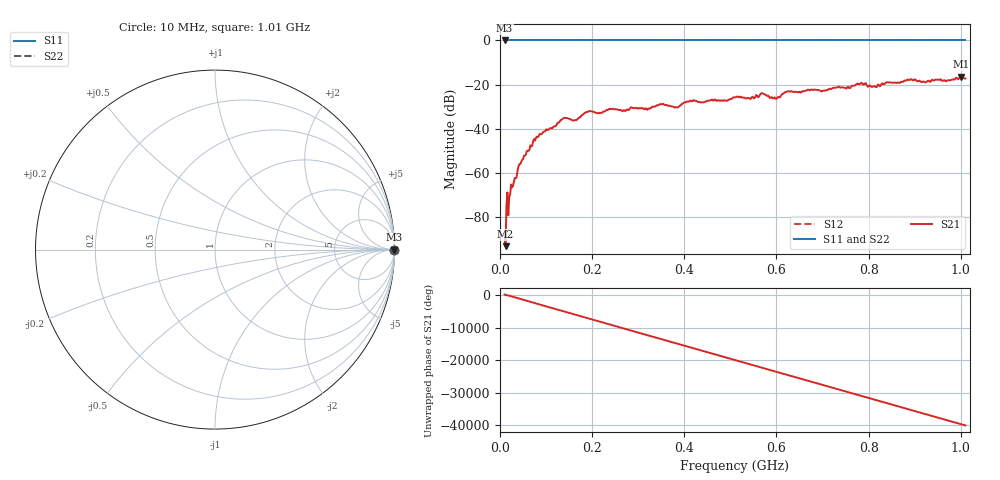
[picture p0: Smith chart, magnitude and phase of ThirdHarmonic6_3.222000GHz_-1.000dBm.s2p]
! 8/17/2025 9:50:30 AM
! C:\ANRITSUVNA\TEMP\TEMP.S2P
! CHANNEL.1
! TR.MEASUREMENT
! RAW.DATA
! RF.CORRECTION.OFF
! AVERAGING.OFF
! IF.BANDWIDTH: 5KHZ
! SWEEPTYPE:  FREQ.SWEEP(Linear)
! Reference Plane Port Info
! PORT:  PORT1  PORT2
! DISTANCE:  0  m  0  m
! TIME:  0  s  0  s
! PHASE.OFFSET:  0  deg.  0  deg.
! LOSS:  0  dB  0  dB
! REF.LOSS:  0  dB  0  dB
! REF.FREQ:  0  Hz  0  Hz
! Power Info
! POWER:  -20  dBm  -20  dBm
! EFF.POWER:  -20  dBm  -20  dBm
! SOURCE.ATTEN:  0  dB  0  dB
! TEST.ATTEN:  0  dB  0  dB
# GHZ S RI R 50.0
! FREQ.GHZ  S11RE  S11IM  S21RE  S21IM  S12RE  S12IM  S22RE  S22IM
!; PortSelection: Port_12
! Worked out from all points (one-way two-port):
!   501 points, 10 MHz to 1.01 GHz, reference 50 ohm
!   highest |S21| = -16.45 dB at 1 GHz (marker M1); lowest = -93.2 dB at 12 MHz (marker M2)
!   lowest |S11| = 0.0 dB at 10 MHz (marker M3)
!   |S11| at or under -10 dB: nowhere
!   |S22| runs from 0.0 to 0.0 dB; largest |S21 - S12| = 1.1
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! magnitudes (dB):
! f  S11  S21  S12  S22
! 10 MHz  0.0  -87.4  0.0  0.0
! 12 MHz  0.0  -93.2  0.0  0.0
! 42 MHz  0.0  -56.1  0.0  0.0
! 76 MHz  0.0  -45.4  0.0  0.0
! 136 MHz  0.0  -35.6  0.0  0.0
! 162 MHz  0.0  -36.2  0.0  0.0
! 178 MHz  0.0  -33.9  0.0  0.0
! 194 MHz  0.0  -32.0  0.0  0.0
! 322 MHz  0.0  -31.0  0.0  0.0
! 344 MHz  0.0  -29.3  0.0  0.0
! 382 MHz  0.0  -30.2  0.0  0.0
! 410 MHz  0.0  -27.8  0.0  0.0
! 510 MHz  0.0  -25.8  0.0  0.0
! 570 MHz  0.0  -23.9  0.0  0.0
! 596 MHz  0.0  -25.8  0.0  0.0
! 622 MHz  0.0  -23.2  0.0  0.0
! 678 MHz  0.0  -22.3  0.0  0.0
! 780 MHz  0.0  -19.9  0.0  0.0
! 814 MHz  0.0  -20.9  0.0  0.0
! 844 MHz  0.0  -19.1  0.0  0.0
! 1 GHz  0.0  -16.5  0.0  0.0
! 1.01 GHz  0.0  -17.3  0.0  0.0
